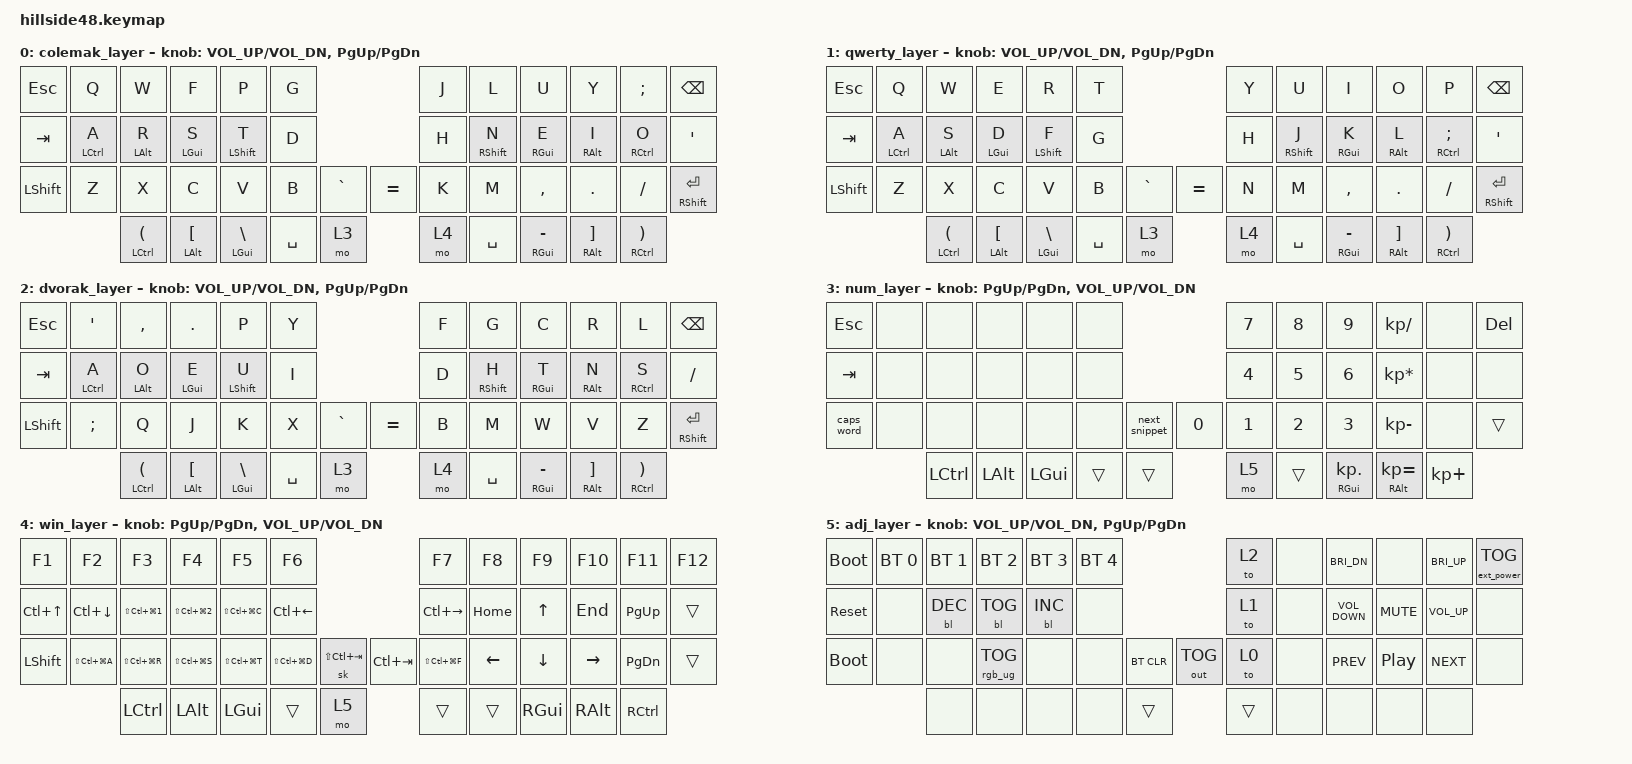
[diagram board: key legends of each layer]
/*
 * Copyright (c) 2022 The ZMK Contributors
 *
 * SPDX-License-Identifier: MIT
 */

#include <behaviors.dtsi>
#include <dt-bindings/zmk/backlight.h>
#include <dt-bindings/zmk/bt.h>
#include <dt-bindings/zmk/ext_power.h>
#include <dt-bindings/zmk/keys.h>
#include <dt-bindings/zmk/outputs.h>
#include <dt-bindings/zmk/rgb.h>

#define QWERTY_L 0
#define DVORAK_L 1
#define COLEMK_L 2
#define SYM_L    3
#define NUM_L    4
#define ADJ_L    5
#define Undo   LC(Z)
#define Cut    LC(X)
#define Copy   LC(C)
#define Paste  LC(V)

/ {
    macros {
        next_snippet: next_snippet {
            compatible = "zmk,behavior-macro";
            #binding-cells = <0>;
            bindings = <&kp COLON &kp N &kp X>;
            label = "NEXT_SNIPPET";
        };
    };

    keymap {
        compatible = "zmk,keymap";

        colemak_layer {
            /* COLEMAK-DH
 * -------------------------------------------------------------------------------------------------------------------------------------
 * | `     |   Q   |   W   |   F   |   P   |   B   |-----------------------------------|   J   |   L   |   U   |   Y   |   ;   | BKSPC |
 * | TAB   |   A   |   R   |   S   |   T   |   G   |-----------------------------------|   M   |   N   |   E   |   I   |   O   | ENTER |
 * | SHIFT |   Z   |   X   |   C   |   D   |   V   | CAPS  |-------------------|  ESC  |   K   |   H   |   ,   |   .   |   /   | SHIFT |
 * ----------------| CTRL  |-------|  GUI  |  ALT  | SPACE |  Sym  |---|  Num  | SPACE |  ALT  |  GUI  |-------|   '   |----------------
 */

            bindings = <
&kp ESCAPE  &kp Q               &kp W                       &kp F       &kp P                  &kp G                                                   &kp J           &kp L                   &kp U       &kp Y                                &kp SEMI     &kp BSPC
&kp TAB     &mt LEFT_CONTROL A  &mt LEFT_ALT R              &mt LGUI S  &mt LEFT_SHIFT T       &kp D                                                   &kp H           &mt RSHFT N             &mt RGUI E  &mt RALT I                           &mt RCTRL O  &kp SQT
&kp LSHFT   &kp Z               &kp X                       &kp C       &kp V                  &kp B               &kp GRAVE                &kp EQUAL  &kp K           &kp M                   &kp COMMA   &kp DOT                              &kp SLASH    &mt RSHFT RET
                                &mt LCTRL LEFT_PARENTHESIS              &mt LALT LEFT_BRACKET  &mt LGUI BACKSLASH  &kp SPACE  &mo 3  &mo 4  &kp SPACE  &mt RGUI MINUS  &mt RALT RIGHT_BRACKET              &mt RIGHT_CONTROL RIGHT_PARENTHESIS
            >;

            sensor-bindings = <&inc_dec_kp C_VOL_UP C_VOL_DN &inc_dec_kp PG_UP PG_DN>;
        };

        qwerty_layer {
            /* QWERTY
 * -------------------------------------------------------------------------------------------------------------------------------------
 * | `     |   Q   |   W   |   E   |   R   |   T   |-----------------------------------|   Y   |   U   |   I   |   O   |   P   | BKSPC |
 * | TAB   |   A   |   S   |   D   |   F   |   G   |-----------------------------------|   H   |   J   |   K   |   L   |   ;   | ENTER |
 * | SHIFT |   Z   |   X   |   C   |   V   |   B   | CAPS  |-------------------|  ESC  |   N   |   M   |   ,   |   .   |   /   | SHIFT |
 * ----------------| CTRL  |-------|  GUI  |  ALT  | SPACE |  Sym  |---|  Num  | SPACE |  ALT  |  GUI  |-------|   '   |----------------
 */

            bindings = <
&kp ESCAPE  &kp Q               &kp W                              &kp E           &kp R                      &kp T                                                       &kp Y                &kp U                        &kp I            &kp O                                &kp P                   &kp BSPC
&kp TAB     &mt LEFT_CONTROL A  &mt LEFT_ALT S                     &mt LEFT_GUI D  &mt LEFT_SHIFT F           &kp G                                                       &kp H                &mt RIGHT_SHIFT J            &mt RIGHT_GUI K  &mt RIGHT_ALT L                      &mt RIGHT_CONTROL SEMI  &kp SINGLE_QUOTE
&kp LSHFT   &kp Z               &kp X                              &kp C           &kp V                      &kp B                   &kp GRAVE                &kp EQUAL  &kp N                &kp M                        &kp COMMA        &kp DOT                              &kp SLASH               &mt RIGHT_SHIFT ENTER
                                &mt LEFT_CONTROL LEFT_PARENTHESIS                  &mt LEFT_ALT LEFT_BRACKET  &mt LEFT_GUI BACKSLASH  &kp SPACE  &mo 3  &mo 4  &kp SPACE  &mt RIGHT_GUI MINUS  &mt RIGHT_ALT RIGHT_BRACKET                   &mt RIGHT_CONTROL RIGHT_PARENTHESIS
            >;

            sensor-bindings = <&inc_dec_kp C_VOL_UP C_VOL_DN &inc_dec_kp PG_UP PG_DN>;
        };

        dvorak_layer {
            /* DVORAK
 * -------------------------------------------------------------------------------------------------------------------------------------
 * | `     |   '   |   ,   |   .   |   P   |   Y   |-----------------------------------|   F   |   G   |   C   |   R   |   L   | BKSPC |
 * | TAB   |   A   |   O   |   E   |   U   |   I   |-----------------------------------|   D   |   H   |   T   |   N   |   S   | ENTER |
 * | SHIFT |   ;   |   Q   |   J   |   K   |   X   | CAPS  |-------------------|  ESC  |   B   |   M   |   W   |   V   |   Z   | SHIFT |
 * ----------------| CTRL  |-------|  GUI  |  ALT  | SPACE |  Sym  |---|  Num  | SPACE |  ALT  |  GUI  |-------|   /   |----------------
 */

            bindings = <
&kp ESC    &kp SQT             &kp COMMA                          &kp DOT         &kp P                      &kp Y                                                       &kp F                &kp G                        &kp C            &kp R                                &kp L                &kp BSPC
&kp TAB    &mt LEFT_CONTROL A  &mt LEFT_ALT O                     &mt LEFT_GUI E  &mt LEFT_SHIFT U           &kp I                                                       &kp D                &mt RIGHT_SHIFT H            &mt RIGHT_GUI T  &mt RIGHT_ALT N                      &mt RIGHT_CONTROL S  &kp SLASH
&kp LSHFT  &kp SEMI            &kp Q                              &kp J           &kp K                      &kp X                   &kp GRAVE                &kp EQUAL  &kp B                &kp M                        &kp W            &kp V                                &kp Z                &mt RIGHT_SHIFT ENTER
                               &mt LEFT_CONTROL LEFT_PARENTHESIS                  &mt LEFT_ALT LEFT_BRACKET  &mt LEFT_GUI BACKSLASH  &kp SPACE  &mo 3  &mo 4  &kp SPACE  &mt RIGHT_GUI MINUS  &mt RIGHT_ALT RIGHT_BRACKET                   &mt RIGHT_CONTROL RIGHT_PARENTHESIS
            >;

            sensor-bindings = <&inc_dec_kp C_VOL_UP C_VOL_DN &inc_dec_kp PG_UP PG_DN>;
        };

        num_layer {
            /* NUM   
 * -------------------------------------------------------------------------------------------------------------------------------------
 * | F11   |   1   |   2   |   3   |   4   |   5   |-----------------------------------|   6   |   7   |   8   |   9   |       | BSPC  |
 * | F12   |  F1   |  F2   |  F3   |  F4   |  F5   |-----------------------------------|VOL UP | Shift | Ctrl  | Alt   | Gui   | ENTER |
 * | Shift |  F6   |  F7   |  F8   |  F9   |  F10  |  INS  |-------------------| MUTE  |VOL DN | Left  |  Up   | Down  | Right | DELETE|
 * ----------------|       |-------|       |       |       | ADJ_L |---|       |       |       |       |-------| CTRL  |----------------
 */

            bindings = <
&kp ESCAPE  &none  &none             &none  &none         &none                                               &kp N7                &kp N8                  &kp N9  &kp KP_DIVIDE    &none  &kp DEL
&kp TAB     &none  &none             &none  &none         &none                                               &kp N4                &kp N5                  &kp N6  &kp KP_MULTIPLY  &none  &none
&caps_word  &none  &none             &none  &none         &none         &next_snippet                 &kp N0  &kp N1                &kp N2                  &kp N3  &kp KP_MINUS     &none  &trans
                   &kp LEFT_CONTROL         &kp LEFT_ALT  &kp LEFT_GUI  &trans         &trans  &mo 5  &trans  &mt RIGHT_GUI KP_DOT  &mt RIGHT_ALT KP_EQUAL          &kp KP_PLUS
            >;

            sensor-bindings = <&inc_dec_kp PG_UP PG_DN &inc_dec_kp C_VOL_UP C_VOL_DN>;
        };

        win_layer {
            /* SYM
 * -------------------------------------------------------------------------------------------------------------------------------------
 * | HOME  |   !   |   @   |   #   |   $   |   %   |-----------------------------------|   ^   |   &   |   *   |   (   |   )   | BSPC  |
 * | END   |  GUI  |  Alt  | Ctrl  | Shift | Pg Up |-----------------------------------|   -   |   =   |   [   |   ]   |   \   | ENTER |
 * | Shift |  UnDo |  Cut  | Copy  | Paste | Pg Dn |OsAltGr|-------------------| MENU  |   _   |   +   |   {   |   }   |   |   | SHIFT |
 * ----------------|       |-------|       |       |       |       |---| ADJ_L |       |       |       |-------| CTRL  |----------------
 */

            bindings = <
&kp F1            &kp F2              &kp F3              &kp F4              &kp F5             &kp F6                                                          &kp F7             &kp F8          &kp F9          &kp F10    &kp F11        &kp F12
&kp LC(UP_ARROW)  &kp LC(DOWN_ARROW)  &kp LS(LC(LG(N1)))  &kp LS(LC(LG(N2)))  &kp LS(LC(LG(C)))  &kp LC(LEFT)                                                    &kp LC(RIGHT)      &kp HOME        &kp UP_ARROW    &kp END    &kp PAGE_UP    &trans
&kp LEFT_SHIFT    &kp LS(LC(LG(A)))   &kp LS(LC(LG(R)))   &kp LS(LC(LG(S)))   &kp LS(LC(LG(T)))  &kp LS(LC(LG(D)))  &sk LS(LC(TAB))                 &kp LC(TAB)  &kp LS(LC(LG(F)))  &kp LEFT_ARROW  &kp DOWN_ARROW  &kp RIGHT  &kp PAGE_DOWN  &trans
                                      &kp LEFT_CONTROL                        &kp LEFT_ALT       &kp LEFT_GUI       &trans           &mo 5  &trans  &trans       &kp RIGHT_GUI      &kp RIGHT_ALT                   &kp RCTRL
            >;

            sensor-bindings = <&inc_dec_kp PG_UP PG_DN &inc_dec_kp C_VOL_UP C_VOL_DN>;
        };

        adj_layer {
            /* ADJUST
 * -------------------------------------------------------------------------------------------------------------------------------------
 * |       | QWERTY| DVORAK| COLEMK|       |       |-----------------------------------|       |Prt Scr|       | EP_OFF| EP_ON |       |
 * |       | BT 0  | BT 1  | BT 2  | BT 3  | BT 4  |-----------------------------------|       |       |       |       |       |       |
 * | BOOTL | RESET |       |OUT_USB|OUT_BLE|       |BT CLR |-------------------|       |       |       |       |       |       | SHIFT |
 * ----------------|       |-------|       |       |       |       |---|       |       |       |       |-------| CTRL  |----------------
 */

            bindings = <
&bootloader  &bt BT_SEL 0  &bt BT_SEL 1  &bt BT_SEL 2     &bt BT_SEL 3  &bt BT_SEL 4                                            &to 2  &none  &kp C_BRI_DN       &none             &kp C_BRI_UP     &ext_power EP_TOG
&sys_reset   &none         &bl BL_DEC    &bl BL_TOG       &bl BL_INC    &none                                                   &to 1  &none  &kp C_VOLUME_DOWN  &kp C_MUTE        &kp C_VOLUME_UP  &none
&bootloader  &none         &none         &rgb_ug RGB_TOG  &none         &none         &bt BT_CLR                  &out OUT_TOG  &to 0  &none  &kp C_PREV         &kp C_PLAY_PAUSE  &kp C_NEXT       &none
                           &none                          &none         &none         &none       &trans  &trans  &none         &none  &none                     &none
            >;

            sensor-bindings = <&inc_dec_kp C_VOL_UP C_VOL_DN &inc_dec_kp PG_UP PG_DN>;
        };
    };
};
